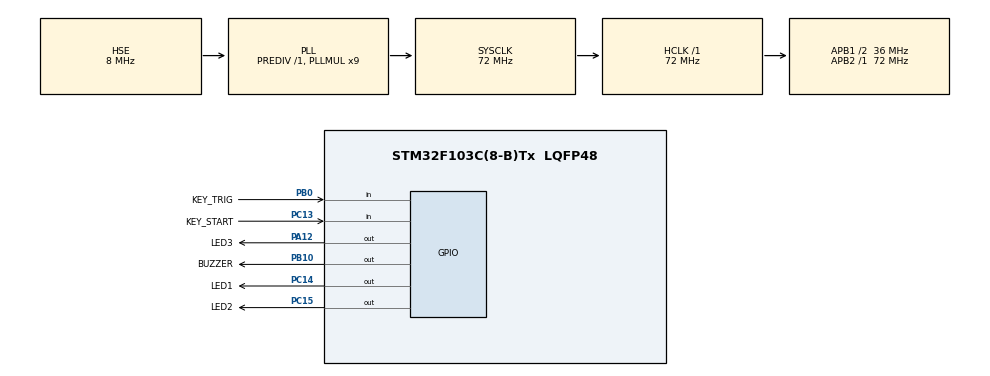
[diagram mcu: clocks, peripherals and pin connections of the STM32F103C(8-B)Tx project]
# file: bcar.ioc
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Mcu.Family=STM32F1
Mcu.Name=STM32F103C(8-B)Tx
Mcu.Package=LQFP48
NVIC.PriorityGroup=NVIC_PRIORITYGROUP_4
PA12.GPIO_Label=LED3
PA12.Signal=GPIO_Output
PA13.Mode=Serial_Wire
PA13.Signal=SYS_JTMS-SWDIO
PA14.Mode=Serial_Wire
PA14.Signal=SYS_JTCK-SWCLK
PB0.GPIO_Label=KEY_TRIG
PB0.GPIO_PuPd=GPIO_PULLUP
PB0.Signal=GPIO_Input
PB10.GPIO_Label=BUZZER
PB10.Signal=GPIO_Output
PC13-TAMPER-RTC.GPIO_Label=KEY_START
PC13-TAMPER-RTC.GPIO_PuPd=GPIO_PULLUP
PC13-TAMPER-RTC.Signal=GPIO_Input
PC14-OSC32_IN.GPIO_Label=LED1
PC14-OSC32_IN.Signal=GPIO_Output
PC15-OSC32_OUT.GPIO_Label=LED2
PC15-OSC32_OUT.Signal=GPIO_Output
PD0-OSC_IN.Mode=HSE-External-Oscillator
PD0-OSC_IN.Signal=RCC_OSC_IN
PD1-OSC_OUT.Mode=HSE-External-Oscillator
PD1-OSC_OUT.Signal=RCC_OSC_OUT
ProjectManager.HeapSize=0x200
ProjectManager.StackSize=0x400
ProjectManager.TargetToolchain=MDK-ARM V5.32
RCC.AHBFreq_Value=72000000
RCC.APB1CLKDivider=RCC_HCLK_DIV2
RCC.APB1Freq_Value=36000000
RCC.APB1TimFreq_Value=72000000
RCC.APB2Freq_Value=72000000
RCC.APB2TimFreq_Value=72000000
RCC.HCLKFreq_Value=72000000
RCC.PLLMUL=RCC_PLL_MUL9
RCC.PLLSourceVirtual=RCC_PLLSOURCE_HSE
RCC.SYSCLKFreq_VALUE=72000000
RCC.SYSCLKSource=RCC_SYSCLKSOURCE_PLLCLK
RCC.USBFreq_Value=72000000
board=custom

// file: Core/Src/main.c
/* USER CODE BEGIN Header */
/**
  ******************************************************************************
  * @file           : main.c
  * @brief          : Main program body
  ******************************************************************************
  * @attention
  *
  * Copyright (c) 2026 STMicroelectronics.
  * All rights reserved.
  *
  * This software is licensed under terms that can be found in the LICENSE file
  * in the root directory of this software component.
  * If no LICENSE file comes with this software, it is provided AS-IS.
  *
  ******************************************************************************
  */
/* USER CODE END Header */
#include "main.h"
#include "gpio.h"

/* USER CODE BEGIN Includes */
#include "bcar_config.h"
#include "bsp_afio.h"
#include "bsp_gpio.h"
#include "bsp_systick.h"
#include "uart_dbg.h"
#include "led.h"
#include "buzzer.h"
#include "key.h"
#include "motor.h"
#include "fan.h"
#include "adc_ir.h"
#include "encoder.h"
#include "imu660.h"
#include "line_pos.h"
#include "heading.h"
#include "odom.h"
#include "fsm.h"
#include "launch.h"
#include "zebra.h"
#include "cmdline.h"
#include "telemetry.h"
#include "control.h"
/* USER CODE END Includes */

void SystemClock_Config(void);

/* USER CODE BEGIN 0 */
/* 阶段 1 的软定时器与计数器（放文件作用域，别塞进 while 里当局部变量）*/
static uint32_t s_t_led   = 0u;   /* 500ms 走马灯 */
static uint32_t s_t_print = 0u;   /* 1000ms 串口心跳 */
static uint32_t s_hello   = 0u;   /* 心跳序号，用来验证"每秒一条不丢" */
static uint8_t  s_chase   = 0u;   /* 走马灯位置 0/1/2=亮某只，3=全灭 */
/* ★上一拍的状态机状态：用来抓"进/出 RUN"的边沿。
 * 控制环的接管(control_enter_run)/交还(control_exit_run)必须挂在状态边沿上，
 * 否则 s_running 永远是 0，control_step() 直接 return —— 看着像在闭环，其实电机收不到任何指令。*/
static fsm_state_t s_fsm_prev = FSM_BOOT;

/* 发车读秒（PC13 长按 → 3 秒 / 短短长 3 声 → RUN）。
 * 时序逻辑在 app/launch.c（纯逻辑、PC 可单测），这里只管"事件 → 动作"。 */
static launch_t s_launch;

/* 斑马线（S/G）判定与"过 S / 到 G 停车"的计数（zebra.c 是纯逻辑，PC 可单测）*/
static zebra_t s_zebra;
static uint8_t s_mark_count = 0u;    /* 已经过了几条斑马线：0=还没，1=过 S，2=过 G 完事 */
/* 本拍弧长（毫米）—— 单编码器模式只要一个轮子（见 bcar_config.h 的说明）*/
static float   s_ds_mm = 0.0f;

/* 最近一次的灰度结果（8 路归一化值 + 偏差）。
 * 放全局是为了让 cmdline 能直接打印 —— 阶段 6 起转向环也读它。 */
line_pos_t s_line_out;
/* USER CODE END 0 */

int main(void)
{

  /* MCU Configuration--------------------------------------------------------*/

  /* Reset of all peripherals, Initializes the Flash interface and the Systick. */
  HAL_Init();

  /* Configure the system clock */
  SystemClock_Config();

  /* Initialize all configured peripherals */
  MX_GPIO_Init();
  /* ⚠ 这里**不要**加 MX_USART1_UART_Init()：
   * 它会把 PA9/PA10 配成串口，而这两块脚在 B 车上是**电机 PWM**（TIM1_CH2/CH3）。
   * 本板串口走的是重映射后的 PB6/PB7，初始化在 uart_dbg_init() 里手写（见下）。*/
  /* USER CODE BEGIN 2 */
  /* 初始化顺序有讲究，别调换：
   *   1) AFIO  —— 先关 JTAG 保 SWD、把 USART1 重映射到 PB6/PB7
   *   2) 时基  —— DWT 微秒计时（后面 IMU 积分要用）
   *   3) 串口  —— 必须晚于 AFIO，否则重映射没生效，串口是哑巴
   *   4) 其它外设（灯/蜂鸣器/按键/电机）*/
  bsp_afio_init();
  bsp_systick_init();
  uart_dbg_init();
  led_init();
  buzzer_init();
  fan_init();          /* 风机（负压）：上电先关着，发车读秒才开 */
  /* 风机自检：上电转 350ms —— 这是"这条路通不通"的唯一可靠判据
   * （串口命令时通时断，靠敲 FAN 测不准）。听得到/看得到就说明 U6 + 风机是好的。 */
  fan_launch_on();
  HAL_Delay(350);
  fan_off();  key_init();
  cmdline_init();
  fsm_init();

  /* 上电横幅：把关键事实打出来自证（MAPR 是"重映射有没有生效"的判据；
   * built 后面是**编译时间戳**，跟 hex 的文件时间一比就知道板上是不是最新那版）*/
  uart_dbg_printf("\r\n\r\n=== %s === built %s\r\n", BCAR_FW_VERSION, BCAR_FW_BUILD);
  uart_dbg_printf("MAPR = 0x%08X  (%s)\r\n",
                  bsp_afio_mapr(), bsp_afio_mapr_explain(bsp_afio_mapr()));
  uart_dbg_printf("SYSCLK = %u Hz, PCLK2 = %u Hz, tick = %u ms\r\n",
                  SystemCoreClock, HAL_RCC_GetPCLK2Freq(), BCAR_TICK_MS);

  /* 电机 PWM：MOE 是"程序在跑、电机不转"的经典坑，所以把结果打出来 */
  if (motor_init())
  {
    uart_dbg_printf("TIM1 PWM %u Hz, MOE = ON\r\n", BCAR_PWM_FREQ_HZ);
  }
  else
  {
    uart_dbg_printf("TIM1 MOE = OFF  ← 电机不会转！查 BDTR 写入\r\n");
    led_on(LED3);
  }

  /* 编码器（TIM2/TIM3 硬件正交）+ 里程解算 */
  (void)encoder_init();
  {
    odom_cfg_t oc;
    oc.mm_per_count = BCAR_MM_PER_COUNT;   /* ★待标定 */
    oc.track_mm     = BCAR_TRACK_MM;
    oc.dt_s         = (float)BCAR_TICK_MS / 1000.0f;
    odom_init(&oc);
  }
  uart_dbg_printf("ENC TIM2/TIM3 quadrature OK (mm_per_count x1000 = %u, 待标定)\r\n",
                  (unsigned)(BCAR_MM_PER_COUNT * 1000.0f));

  /* 灰度 8 路：ADC 扫描 + DMA 一开就一直在后台滚，CPU 不用管 */
  adc_ir_init();
  {
    /* 逐路黑白基准：2026-10-15 在**真赛道材料**上实测（见 bcar_config.h 里的说明）。
     * 不再是"猜的 200/3000"，所以上电就是标定好的状态 —— 现场不用每次教。 */
    static const float k_ir_black[LINE_CH] = BCAR_IR_BLACK_ARR;
    static const float k_ir_white[LINE_CH] = BCAR_IR_WHITE_ARR;
    line_pos_cfg_t lc;
    uint8_t k;
    /* 数组长度和通道数对不上就编译不过（换模块/换路数时防呆）*/
    typedef char ir_ref_len_chk[(sizeof(k_ir_black) / sizeof(k_ir_black[0]) == (size_t)LINE_CH) ? 1 : -1];

    for (k = 0u; k < LINE_CH; k++) {
      lc.pos_mm[k] = ((float)k - 3.5f) * BCAR_IR_PITCH_MM;
      lc.black[k]  = k_ir_black[k];
      lc.white[k]  = k_ir_white[k];
    }
    lc.lost_sum_p = BCAR_IR_LOST_SUM_P;
    line_pos_init(&lc);
  }
  uart_dbg_printf("IR 8ch ADC+DMA ready (间距 x100 = %u, 黑白基准 = 实测值)\r\n",
                  (unsigned)(BCAR_IR_PITCH_MM * 100.0f));

  /* 遥测：每圈结算 + 可选实时行（都走 TX DMA）*/
  telemetry_init();

  /* 循迹控制环（转向 PD + 差速混合）：初始化但还没启动，等进 RUN 才动 */
  control_init();

  /* ★IMU（SPI2 + DRDY 外部中断）
   * 2026-10-15 补：之前**漏了 imu660_init() 这一句** ⇒ SPI2 从没被使能（SPE=0），
   * 一敲 IMU 命令就死在 spi2_xfer 里等 RXNE（整机假死、连 hello 心跳都停）。
   * 上电自证：读得到 WHO_AM_I 才算过；读不到要吼一声，别静默带病跑。 */
  if (imu660_init())
  {
    uart_dbg_printf("IMU660RC OK (WHO_AM_I 已读到)\r\n");
  }
  else
  {
    uart_dbg_printf("ERR IMU660RC 无应答 —— 查 SPI2 接线 / CS / 模块 3.3V\r\n");
    buzzer_beep(300u);
  }
  heading_init(BCAR_GYRO_DEAD_ZONE_DPS);

  /* 进入待机：电机刹车，等发车键或串口命令 */
  (void)fsm_set(FSM_IDLE);

  /* 上电自检：响一声 + 三灯全亮一下，证明"人机通路"是活的。
   * ★这"1 声"就是发车流程的第一步：上电 1 声 = 待机中。 */
  buzzer_beep(120u);
  led_on(LED1); led_on(LED2); led_on(LED3);
  HAL_Delay(150);
  led_all_off();

  /* 发车流程（2026-10-15 用户定的口径，en 手边看一眼就知道怎么发车）*/
  uart_dbg_puts("\r\n[待机] 上电 1 声 = 已待机。发车流程：\r\n");
  uart_dbg_puts("       PB0 → 测试模式（蜂鸣 2 声，之后等串口指令，调参器在这个模式跑）\r\n");
  uart_dbg_printf("       PC13 长按 %u ms → 发车：3 秒读秒（短短长 3 声）→ 循迹\r\n",
                  (unsigned)BCAR_KEY_LONG_MS);
  uart_dbg_puts("stage2 ready: LED chaser 500ms, hello 1/s, 打 HELP 看命令\r\n");
  /* USER CODE END 2 */

  /* Infinite loop */
  while (1)
  {

    /* USER CODE BEGIN 3 */
    /* 5ms 控制节拍：阶段 2 起这里挂速度环/角度环；现在先挂"慢活"
     * （按键消抖、蜂鸣器计时）—— 它们不需要进中断。 */
    if (bsp_tick5ms_take())
    {
      key_poll();
      buzzer_poll();

      /* 陀螺 → 航向：有 DRDY 才读（采样时刻由芯片给，抖动小）。
       * 拿不到新数据就退回"差速推算"，所以 IMU 挂了车还能勉强跑。 */
      {
        float    dth = 0.0f;
        uint8_t  has_gyro = 0u;
        if (imu660_drdy_take())
        {
          imu660_read();
          dth = heading_step(imu660_gyro_dps(IMU_AXIS_Z),
                             (float)BCAR_TICK_MS / 1000.0f);
          has_gyro = 1u;
        }
        /* 编码器 → 里程：弧长 + 航向增量 → 位姿。
         * ⚠ 右编码器读不到数（硬件待查）⇒ 单编码器模式下直接把左轮增量当整车位移，
         *   别喂 0（喂 0 等于把里程砍半，"跑完一圈停车"的里程兜底就永不触发）。 */
        encoder_poll();
#if (BCAR_ODOM_SINGLE_ENC)
        {
          int16_t d = encoder_delta(ENC_L);
          s_ds_mm = (float)d * BCAR_MM_PER_COUNT;
          odom_step(d, d, has_gyro, dth);
        }
#else
        {
          int16_t dl = encoder_delta(ENC_L);
          int16_t dr = encoder_delta(ENC_R);
          s_ds_mm = (float)(dl + dr) * 0.5f * BCAR_MM_PER_COUNT;
          odom_step(dl, dr, has_gyro, dth);
        }
#endif
      }

      /* 灰度 → 线偏差（err/visible 都在 s_line_out 里，阶段 7 起给转向环用）*/
      s_line_out = line_pos_step(adc_ir_raw_all());

      /* ★过 S / 到 G：斑马线判定（用户口径："过 S 触发一次、跑完一圈到 G 再触发 → 停车"）。
       * 判据全部来自实测（见 zebra.h）：强白跨度 ≥55mm 且 sum_p ≥4.5 —— 普通白线（11mm/3.3）够不着。
       * ★这里**每拍都跑、不分状态**：这样台上把车往斑马线上一放，串口就会打 [MARK]，好验证。 */
      if (zebra_step(&s_zebra, &s_line_out))
      {
        float s_now = odom_get().s_mm;
        if (fsm_state() != FSM_RUN)
        {
          uart_dbg_printf("\r\n[MARK] 斑马线（当前 %s，不计入）s=%d mm\r\n",
                          fsm_state_name(fsm_state()), (int)s_now);
        }
        else if (s_mark_count == 0u && s_now < BCAR_MARK_S_WINDOW_MM)
        {
          s_mark_count = 1u;
          uart_dbg_printf("\r\n[MARK] 过 S（第 1 条斑马线）s=%d mm\r\n", (int)s_now);
        }
        else if (s_now > BCAR_FINISH_MIN_MM)
        {
          s_mark_count = 2u;
          uart_dbg_puts("\r\n[FINISH] 过 G（第 2 条斑马线）→ 停车\r\n");
          buzzer_beeps(3u, (uint16_t)BCAR_BEEP_SHORT_MS, (uint16_t)BCAR_BEEP_GAP_MS);
          (void)fsm_set(FSM_IDLE);       /* 离开 RUN 会自动刹车（见边沿处理）*/
        }
        else
        {
          uart_dbg_printf("\r\n[MARK] 斑马线（s=%d mm 不在判定窗口，按误判忽略）\r\n", (int)s_now);
        }
      }

      /* 里程兜底：斑马线万一漏认（白条只有 18mm，位置不巧就可能漏），跑够一圈也停 */
      if (fsm_state() == FSM_RUN && s_mark_count == 1u
          && odom_get().s_mm > BCAR_FINISH_ODOM_MM)
      {
        s_mark_count = 2u;
        uart_dbg_printf("\r\n[FINISH] 里程到一圈（s=%d mm，斑马线没认出来）→ 停车\r\n",
                        (int)odom_get().s_mm);
        buzzer_beeps(3u, (uint16_t)BCAR_BEEP_SHORT_MS, (uint16_t)BCAR_BEEP_GAP_MS);
        (void)fsm_set(FSM_IDLE);
      }

      /* --- 按键事件（先处理；后面的状态边沿同拍就能看到新状态）--- */

      /* PB0（KEY1）→ 测试模式：蜂鸣 2 声，之后等串口指令（调参器在这里跑）。
       * ★读秒中按它 = 取消发车（下面边沿块会把读秒掐掉）；RUN 中按它 = 停车交还。 */
      if (key_take_press(KEY_TRIG))
      {
        (void)fsm_set(FSM_TEST);
        buzzer_beeps(2u, (uint16_t)BCAR_BEEP_SHORT_MS, (uint16_t)BCAR_BEEP_GAP_MS);
        uart_dbg_puts("\r\n[KEY] PB0 → 测试模式（蜂鸣 2 声）：等串口指令\r\n");
      }

      /* PC13 短按 → 不发车（用户口径：短按不响应）。提示一句，免得以为板子死了 */
      if (key_take_short(KEY_START))
      {
        uart_dbg_printf("\r\n[KEY] PC13 短按忽略（发车要长按 %u ms）\r\n",
                        (unsigned)BCAR_KEY_LONG_MS);
      }

      /* PC13（KEY2）长按 → 正式发车：进读秒 */
      if (key_take_long(KEY_START))
      {
        fsm_state_t st = fsm_state();
        if (st == FSM_IDLE || st == FSM_TEST)
        {
          (void)fsm_set(FSM_COUNTDOWN);
        }
        else
        {
          uart_dbg_printf("\r\n[KEY] PC13 长按：当前是 %s，不发车（要停在待机/测试模式才能发车）\r\n",
                          fsm_state_name(st));
        }
      }

      /* --- 发车读秒：3 秒内短短长 3 声，到点自动起跑 --- */
      if (fsm_state() == FSM_COUNTDOWN)
      {
        launch_ev_t lev = launch_step(&s_launch, bsp_millis());
        if (lev == LAUNCH_EV_BEEP_SHORT)
        {
          buzzer_beep(BCAR_BEEP_SHORT_MS);
        }
        else if (lev == LAUNCH_EV_BEEP_LONG)
        {
          buzzer_beep(BCAR_BEEP_LONG_MS);
        }
        else if (lev == LAUNCH_EV_DONE)
        {
          (void)fsm_set(FSM_RUN);
          uart_dbg_puts("[LAUNCH] 读秒结束 → RUN：循迹开始\r\n");
        }
      }

      /* ★循迹控制：挂在状态边沿上接管/交还电机，且只在 RUN 里真正驱动。
       * ★2026-10-15 补：原来只调了 control_step()，而 control_enter_run()/exit_run()
       * 全项目没人调用 ⇒ s_running 恒为 0 ⇒ 这个"闭环"其实是死的（按发车键车不动）。
       * 进 RUN → 接管（清微分历史、清丢线计数）；离开 RUN → 交还（强制刹车）。 */
      {
        fsm_state_t st = fsm_state();
        if (st != s_fsm_prev)
        {
          /* 读秒没走完就切走了（多半是按 PB0 取消）⇒ 把时序器掐掉，别留着半截读秒 */
          if (s_fsm_prev == FSM_COUNTDOWN && st != FSM_COUNTDOWN)
          {
            if (launch_active(&s_launch))
            {
              launch_abort(&s_launch);
              uart_dbg_puts("[LAUNCH] 读秒被取消，没起跑\r\n");
            }
          }

          if (st == FSM_COUNTDOWN)
          {
            /* ★风机先转起来（要几百毫秒才能上劲），这样起步那一脚压得住车头 */
            fan_launch_on();
            /* 读秒这 3 秒：车摆在发车点（赛道图上那个"小蓝框" = nav_map 的 s=0，车头朝 S），
             * 电机已刹车、纹丝不动 —— 正好拿来标陀螺零偏。 */
            launch_begin(&s_launch, bsp_millis());
#if (BCAR_GYRO_AUTOCAL_ON_LAUNCH)
            /* 不标的话实测有 ≈0.4 dps 的原始零偏，跑一圈航向能飘十几度，而且不报错 */
            cmdline_gyrozero_auto_begin();
#endif
            uart_dbg_puts("[LAUNCH] 开始读秒（车别动：正在标陀螺零偏）\r\n");
          }

          if (st == FSM_RUN)
          {
            /* ★发车锚定：把里程/位姿/航向清到发车点这一点 ⇒ 之后 odom 的 s 就是
             * "从发车点跑出多远"、航向 0 = 发车方向（车头朝 S）。
             * ★放在"进 RUN 这一刻"而不是读秒开始，是为了让零偏标定先落地 ——
             *   否则读秒头 1 秒还在用旧零偏，会把航向带偏零点几度。
             * ⚠ 地图坐标 (2772, 203) 与航向 180° 的换算等地图进固件时统一做
             *   （含"地图 yaw 顺时针为正"与陀螺逆时针为正的符号），见交接文档待办。 */
            heading_reset();
            encoder_reset();
            odom_reset();
            telemetry_start_lap();   /* 本圈统计从起跑算，别把站着读秒的 3 秒算进去 */
            /* 起步模式 = 陀螺直行（目标航向 = 0 = 发车方向），看到线自动交回循迹环 */
            zebra_init(&s_zebra);
            s_mark_count = 0u;
            control_enter_run(heading_yaw_deg());
            uart_dbg_printf("[CTRL] 进入 RUN：先按陀螺直行（目标 %d deg），看到线交给循迹环；BASE=%u\r\n",
                            (int)heading_yaw_deg(), (unsigned)control_base());
          }
          else if (s_fsm_prev == FSM_RUN)
          {
            fan_off();                     /* 离开 RUN 就关风机（2.5A，别常开）*/
            control_exit_run();
            uart_dbg_puts("[CTRL] 离开 RUN：转向环交还，电机已刹车\r\n");
          }
          s_fsm_prev = st;
        }
        if (st == FSM_RUN)
        {
          /* 循迹看 err/visible，看不到线就切陀螺直行 —— 两种模式在 control.c 里切 */
          control_step(s_line_out.err_mm, s_line_out.visible,
                       heading_yaw_deg(), odom_get().v_mm_s);

          /* ★过 S / 到 G：斑马线判定（用户口径："过 S 触发一次、跑完一圈到 G 再触发 → 停车"）。
           * 判据是实测出来的：斑马线上 7 路白、白区跨度 77mm；普通白线最多 4 路、≤33mm。 */
          if (zebra_step(&s_zebra, &s_line_out))
          {
            float s_now = odom_get().s_mm;
            if (s_mark_count == 0u && s_now < BCAR_MARK_S_WINDOW_MM)
            {
              s_mark_count = 1u;
              uart_dbg_printf("\r\n[MARK] 过 S（第 1 条斑马线）s=%d mm\r\n", (int)s_now);
            }
            else if (s_now > BCAR_FINISH_MIN_MM)
            {
              s_mark_count = 2u;
              uart_dbg_puts("\r\n[FINISH] 过 G（第 2 条斑马线）→ 停车\r\n");
              buzzer_beeps(3u, (uint16_t)BCAR_BEEP_SHORT_MS, (uint16_t)BCAR_BEEP_GAP_MS);
              (void)fsm_set(FSM_IDLE);       /* 离开 RUN 会自动刹车（见上面的边沿处理）*/
            }
            else
            {
              uart_dbg_printf("\r\n[MARK] 斑马线（s=%d mm 不在判定窗口，按误判忽略）\r\n", (int)s_now);
            }
          }
          else if (s_mark_count == 1u && odom_get().s_mm > BCAR_FINISH_ODOM_MM)
          {
            /* 兜底：斑马线万一没认出来（白条只有 18mm，位置不巧就可能漏），
             * 里程到一圈也停车 —— 宁可停早点，也别一直冲。 */
            s_mark_count = 2u;
            uart_dbg_printf("\r\n[FINISH] 里程到一圈（s=%d mm，斑马线没认出来）→ 停车\r\n",
                            (int)odom_get().s_mm);
            buzzer_beeps(3u, (uint16_t)BCAR_BEEP_SHORT_MS, (uint16_t)BCAR_BEEP_GAP_MS);
            (void)fsm_set(FSM_IDLE);
          }
        }
      }

      /* 遥测：把这拍的数据喂进本圈统计（顺带按需发实时行）*/
      telemetry_tick(s_line_out.err_mm, s_line_out.visible,
                     odom_get().v_mm_s,
                     s_ds_mm,                 /* 本拍弧长（上面算好的）*/
                     heading_yaw_deg(),
                     control_steer_last());   /* 实际下发的转向量（调参就看它）*/

      /* 跨多拍的命令（陀螺零偏标定）在这里推进 */
      cmdline_tick_5ms();
    }

    /* 串口命令（行式，收到换行才执行）—— 每圈都查，别等 5ms 拍 */
    cmdline_poll();

    /* 500ms：三色灯走马（亮一只 → 亮下一只 → ... → 全灭 → 循环） */
    if (bsp_timer_expired(&s_t_led, 500u))
    {
      led_all_off();
      if (s_chase < (uint8_t)LED_COUNT)
      {
        led_on((led_id_t)s_chase);
      }
      s_chase = (uint8_t)((s_chase + 1u) % ((uint8_t)LED_COUNT + 1u));
    }

    /* 1000ms：串口心跳。序号必须连续递增 —— 丢一条就说明发送侧有问题。
     * 调参时用命令 `HELLO 0` 关掉，免得刷屏。 */
    if (g_hello_en && bsp_timer_expired(&s_t_print, 1000u))
    {
      s_hello++;
      uart_dbg_printf("hello %u  t=%u ms  state=%s\r\n",
                      s_hello, bsp_millis(), fsm_state_name(fsm_state()));
    }
  }
  /* USER CODE END 3 */
}

void SystemClock_Config(void)
{
  RCC_OscInitTypeDef RCC_OscInitStruct = {0};
  RCC_ClkInitTypeDef RCC_ClkInitStruct = {0};

  /** Initializes the RCC Oscillators according to the specified parameters
  * in the RCC_OscInitTypeDef structure.
  */
  RCC_OscInitStruct.OscillatorType = RCC_OSCILLATORTYPE_HSE;
  RCC_OscInitStruct.HSEState = RCC_HSE_ON;
  RCC_OscInitStruct.HSEPredivValue = RCC_HSE_PREDIV_DIV1;
  RCC_OscInitStruct.HSIState = RCC_HSI_ON;
  RCC_OscInitStruct.PLL.PLLState = RCC_PLL_ON;
  RCC_OscInitStruct.PLL.PLLSource = RCC_PLLSOURCE_HSE;
  RCC_OscInitStruct.PLL.PLLMUL = RCC_PLL_MUL9;
  if (HAL_RCC_OscConfig(&RCC_OscInitStruct) != HAL_OK)
  {
    Error_Handler();
  }

  /** Initializes the CPU, AHB and APB buses clocks
  */
  RCC_ClkInitStruct.ClockType = RCC_CLOCKTYPE_HCLK|RCC_CLOCKTYPE_SYSCLK
                              |RCC_CLOCKTYPE_PCLK1|RCC_CLOCKTYPE_PCLK2;
  RCC_ClkInitStruct.SYSCLKSource = RCC_SYSCLKSOURCE_PLLCLK;
  RCC_ClkInitStruct.AHBCLKDivider = RCC_SYSCLK_DIV1;
  RCC_ClkInitStruct.APB1CLKDivider = RCC_HCLK_DIV2;
  RCC_ClkInitStruct.APB2CLKDivider = RCC_HCLK_DIV1;

  if (HAL_RCC_ClockConfig(&RCC_ClkInitStruct, FLASH_LATENCY_2) != HAL_OK)
  {
    Error_Handler();
  }
}

void Error_Handler(void)
{
  /* USER CODE BEGIN Error_Handler_Debug */
  /* 走到这里说明 HAL 初始化失败（最常见：晶振没起振 / 时钟配置不受支持）。
   * 场上没有调试器时，用 LED3 常亮 + 串口一行字告诉你"我挂在哪一步"。 */
  __disable_irq();
  led_on(LED3);
  while (1)
  {
  }
  /* USER CODE END Error_Handler_Debug */
}
